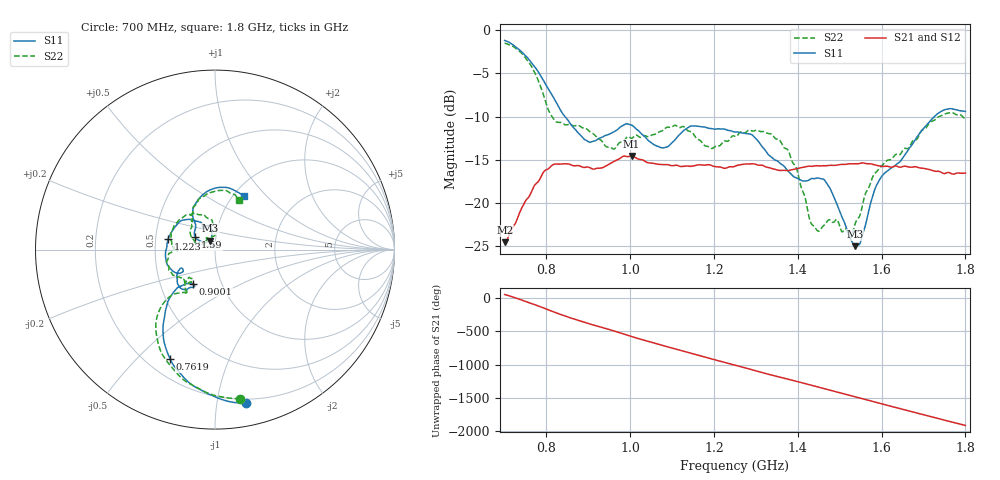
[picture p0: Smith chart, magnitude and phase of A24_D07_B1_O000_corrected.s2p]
! Created with skrf 1.9.0 (http://scikit-rf.org).
# Hz S RI R 50.0
!freq ReS11 ImS11 ReS21 ImS21 ReS12 ImS12 ReS22 ImS22
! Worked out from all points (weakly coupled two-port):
!   1601 points, 700 MHz to 1.8 GHz, reference 50 ohm
!   highest |S21| = -14.52 dB at 1.003 GHz (marker M1); lowest = -24.5 dB at 700.7 MHz (marker M2)
!   lowest |S11| = -25.0 dB at 1.537 GHz (marker M3), VSWR 1.12, Z = 47.3 + j4.79 ohm
!   |S11| at or under -10 dB: 844.4 MHz to 1.726 GHz (881.2 MHz wide, 68.6 % of centre)
!   |S22| runs from -24.0 to -1.5 dB; largest |S21 - S12| = 0.0035
!   S11 on the Smith chart (normalised r, x): 700 MHz: 0.17, -1.21; 761.9 MHz: 0.29, -0.63; 900.1 MHz: 0.73, -0.29; 1.223 GHz: 0.58, +0.07; 1.59 GHz: 0.79, +0.11; 1.8 GHz: 1.12, +0.75
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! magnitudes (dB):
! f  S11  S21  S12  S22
! 700 MHz  -1.2  -24.5  -24.3  -1.5
! 700.7 MHz  -1.2  -24.5  -24.2  -1.5
! 761.9 MHz  -3.6  -18.9  -18.8  -4.0
! 818.2 MHz  -7.9  -15.5  -15.6  -10.4
! 883.6 MHz  -12.3  -15.8  -15.7  -11.2
! 900.1 MHz  -12.9  -15.8  -15.8  -11.6
! 958.5 MHz  -11.8  -15.2  -15.2  -13.7
! 1.003 GHz  -11.0  -14.5  -14.6  -12.5
! 1.067 GHz  -13.5  -15.5  -15.4  -11.8
! 1.145 GHz  -11.1  -15.7  -15.7  -11.7
! 1.223 GHz  -11.4  -16.0  -16.0  -12.8
! 1.25 GHz  -11.8  -15.7  -15.7  -12.3
! 1.357 GHz  -15.4  -16.2  -16.2  -12.7
! 1.396 GHz  -17.1  -16.0  -16.0  -15.8
! 1.434 GHz  -17.1  -15.7  -15.7  -22.5
! 1.471 GHz  -17.8  -15.6  -15.6  -22.1
! 1.525 GHz  -24.0  -15.4  -15.4  -24.0
! 1.537 GHz  -25.0  -15.4  -15.4  -22.4
! 1.59 GHz  -17.7  -15.6  -15.6  -16.2
! 1.617 GHz  -16.1  -15.8  -15.7  -15.0
! 1.734 GHz  -9.6  -16.3  -16.4  -10.1
! 1.8 GHz  -9.4  -16.5  -16.5  -10.2
